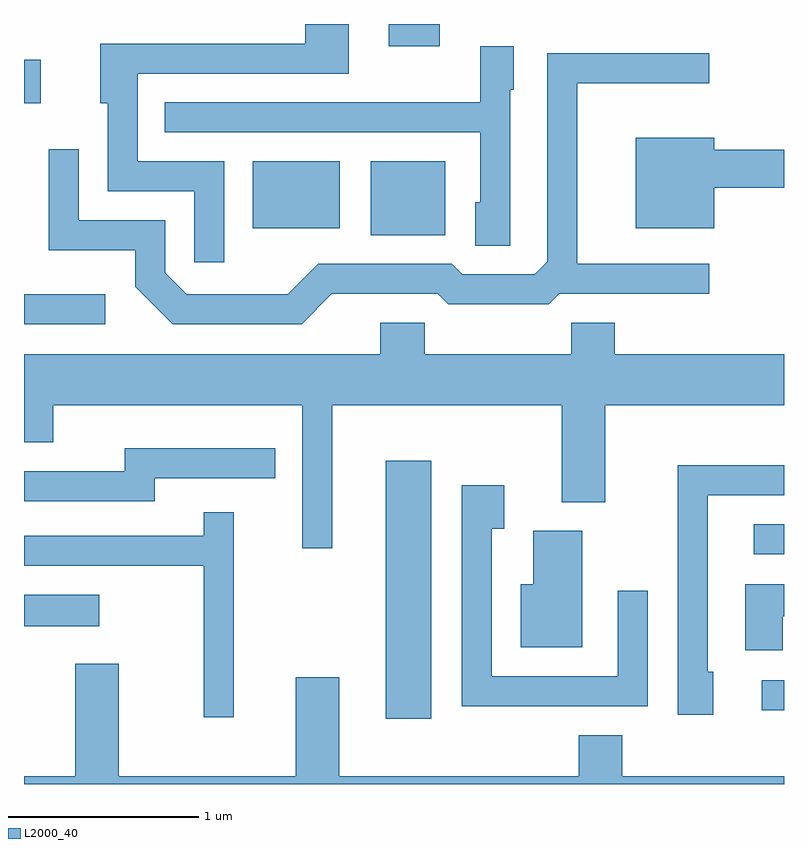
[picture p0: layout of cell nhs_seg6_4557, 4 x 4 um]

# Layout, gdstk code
import gdstk
lib = gdstk.Library(unit=1e-6, precision=1e-09)
def R(c, l, rs):  # rectangles x0, y0, x1, y1
    for r in rs: c.add(gdstk.rectangle(r[:2], r[2:], *l))
def P(c, l, *ps):  # polygons
    for p in ps: c.add(gdstk.Polygon(p, *l))
L2000_40 = (2000, 40)

nhs_seg6_4557 = lib.new_cell('nhs_seg6_4557')
R(nhs_seg6_4557, L2000_40, [(325.516,1650.506,325.754,1651.864), (327.493,1650.551,327.611,1650.709), (323.611,1650.991,324.008,1651.159), (327.453,1651.371,327.611,1651.529), (323.611,1652.581,324.038,1652.739), (325.436,1653.051,325.829,1653.439), (324.816,1653.086,325.274,1653.439), (323.611,1653.746,323.699,1653.974), (325.531,1654.046,325.799,1654.162)])
P(nhs_seg6_4557, L2000_40, [(324.664,1653.439),(324.209,1653.439),(324.209,1653.901),(325.319,1653.901),(325.319,1654.162),(325.091,1654.162),(325.091,1654.059),(324.011,1654.059),(324.011,1653.746),(324.051,1653.746),(324.051,1653.281),(324.506,1653.281),(324.506,1652.908),(324.664,1652.908)],
  [(326.169,1653.816),(326.189,1653.816),(326.189,1654.044),(326.011,1654.044),(326.011,1653.749),(324.353,1653.749),(324.353,1653.591),(326.011,1653.591),(326.011,1653.224),(325.986,1653.224),(325.986,1652.996),(326.169,1652.996)],
  [(325.232,1652.741),(325.789,1652.741),(325.844,1652.686),(326.372,1652.686),(326.427,1652.741),(327.218,1652.741),(327.218,1652.899),(326.524,1652.899),(326.524,1653.851),(327.218,1653.851),(327.218,1654.009),(326.366,1654.009),(326.366,1652.912),(326.299,1652.844),(325.917,1652.844),(325.862,1652.899),(325.159,1652.899),(324.999,1652.739),(324.467,1652.739),(324.354,1652.852),(324.354,1653.129),(323.899,1653.129),(323.899,1653.503),(323.741,1653.503),(323.741,1652.971),(324.196,1652.971),(324.196,1652.779),(324.394,1652.581),(325.072,1652.581)],
  [(327.244,1653.301),(327.611,1653.301),(327.611,1653.499),(327.244,1653.499),(327.244,1653.564),(326.831,1653.564),(326.831,1653.086),(327.244,1653.086)],
  [(325.234,1652.156),(326.441,1652.156),(326.441,1651.646),(326.669,1651.646),(326.669,1652.156),(327.611,1652.156),(327.611,1652.424),(326.719,1652.424),(326.719,1652.589),(326.491,1652.589),(326.491,1652.424),(325.719,1652.424),(325.719,1652.589),(325.486,1652.589),(325.486,1652.424),(323.611,1652.424),(323.611,1651.961),(323.764,1651.961),(323.764,1652.156),(325.076,1652.156),(325.076,1651.403),(325.234,1651.403)],
  [(324.299,1651.771),(324.933,1651.771),(324.933,1651.929),(324.141,1651.929),(324.141,1651.809),(323.611,1651.809),(323.611,1651.651),(324.299,1651.651)],
  [(327.239,1650.754),(327.209,1650.754),(327.209,1651.681),(327.611,1651.681),(327.611,1651.839),(327.051,1651.839),(327.051,1650.526),(327.239,1650.526)],
  [(326.894,1651.178),(326.736,1651.178),(326.736,1650.729),(326.074,1650.729),(326.074,1651.506),(326.139,1651.506),(326.139,1651.734),(325.916,1651.734),(325.916,1650.571),(326.894,1650.571)],
  [(324.714,1651.593),(324.556,1651.593),(324.556,1651.469),(323.611,1651.469),(323.611,1651.311),(324.556,1651.311),(324.556,1650.513),(324.714,1650.513)],
  [(326.549,1651.494),(326.291,1651.494),(326.291,1651.214),(326.226,1651.214),(326.226,1650.881),(326.549,1650.881)],
  [(327.604,1651.046),(327.611,1651.046),(327.611,1651.214),(327.406,1651.214),(327.406,1650.866),(327.604,1650.866)],
  [(327.611,1650.204),(326.759,1650.204),(326.759,1650.419),(326.531,1650.419),(326.531,1650.204),(325.269,1650.204),(325.269,1650.724),(325.041,1650.724),(325.041,1650.204),(324.109,1650.204),(324.109,1650.794),(323.881,1650.794),(323.881,1650.204),(323.611,1650.204),(323.611,1650.162),(327.611,1650.162)])

lib.write_gds('nhs_seg6_4557.gds')
